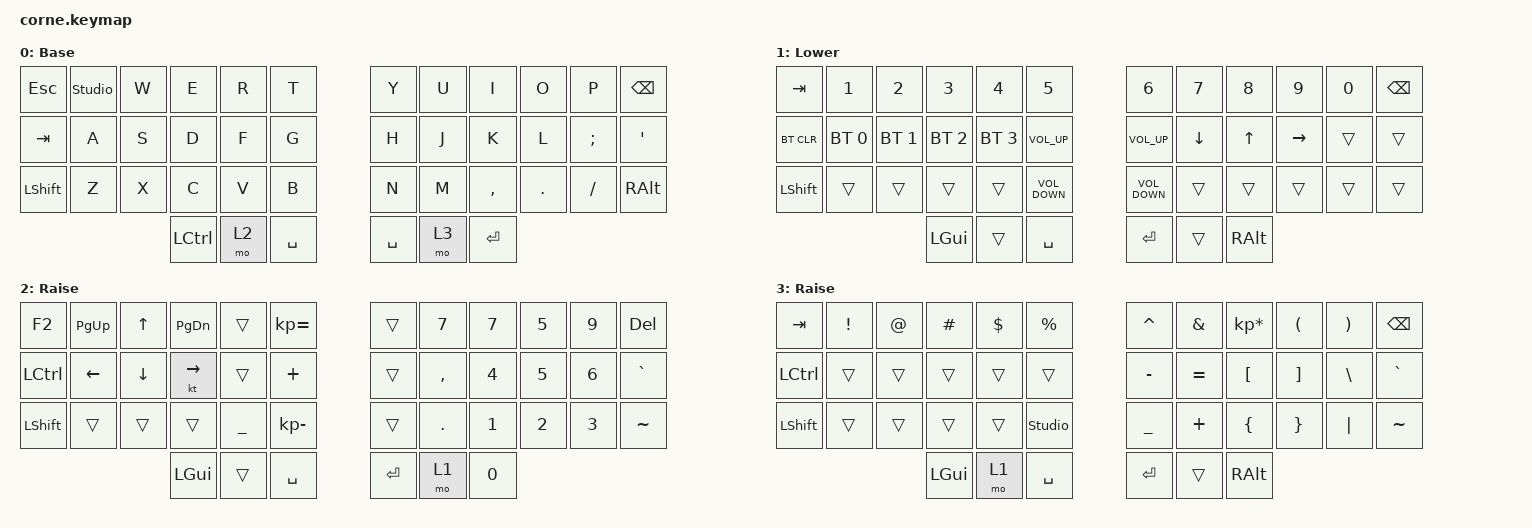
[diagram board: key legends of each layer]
/*
 * Copyright (c) 2020 The ZMK Contributors
 *
 * SPDX-License-Identifier: MIT
 */

#include <behaviors.dtsi>
#include <dt-bindings/zmk/bt.h>
#include <dt-bindings/zmk/keys.h>

/ {
    keymap {
        compatible = "zmk,keymap";

        default_layer {
            // -----------------------------------------------------------------------------------------
            // |  TAB |  Q  |  W  |  E  |  R  |  T  |   |  Y  |  U   |  I  |  O  |  P  | BKSP |
            // | CTRL |  A  |  S  |  D  |  F  |  G  |   |  H  |  J   |  K  |  L  |  ;  |  '   |
            // | SHFT |  Z  |  X  |  C  |  V  |  B  |   |  N  |  M   |  ,  |  .  |  /  | ESC  |
            //                    | GUI | LWR | SPC |   | ENT | RSE  | ALT |

            display-name = "Base";
            bindings = <
&kp ESC    &studio_unlock  &kp W  &kp E             &kp R  &kp T        &kp Y      &kp U  &kp I      &kp O    &kp P     &kp BSPC
&kp TAB    &kp A           &kp S  &kp D             &kp F  &kp G        &kp H      &kp J  &kp K      &kp L    &kp SEMI  &kp SQT
&kp LSHFT  &kp Z           &kp X  &kp C             &kp V  &kp B        &kp N      &kp M  &kp COMMA  &kp DOT  &kp FSLH  &kp RIGHT_ALT
                                  &kp LEFT_CONTROL  &mo 2  &kp SPACE    &kp SPACE  &mo 3  &kp ENTER
            >;
        };

        lower_layer {
            // -----------------------------------------------------------------------------------------
            // |  TAB |  1  |  2  |  3  |  4  |  5  |   |  6  |  7  |  8  |  9  |  0  | BKSP |
            // | BTCLR| BT1 | BT2 | BT3 | BT4 | BT5 |   | LFT | DWN |  UP | RGT |     |      |
            // | SHFT |     |     |     |     |     |   |     |     |     |     |     |      |
            //                    | GUI |     | SPC |   | ENT |     | ALT |

            display-name = "Lower";
            bindings = <
&kp TAB     &kp N1        &kp N2        &kp N3        &kp N4        &kp N5               &kp N6             &kp N7    &kp N8    &kp N9     &kp N0  &kp BSPC
&bt BT_CLR  &bt BT_SEL 0  &bt BT_SEL 1  &bt BT_SEL 2  &bt BT_SEL 3  &kp C_VOLUME_UP      &kp C_VOLUME_UP    &kp DOWN  &kp UP    &kp RIGHT  &trans  &trans
&kp LSHFT   &trans        &trans        &trans        &trans        &kp C_VOLUME_DOWN    &kp C_VOLUME_DOWN  &trans    &trans    &trans     &trans  &trans
                                        &kp LGUI      &trans        &kp SPACE            &kp RET            &trans    &kp RALT
            >;
        };

        raise_layer {
            // -----------------------------------------------------------------------------------------
            // |  TAB |  !  |  @  |  #  |  $  |  %  |   |  ^  |  &  |  *  |  (  |  )  | BKSP |
            // | CTRL |     |     |     |     |     |   |  -  |  =  |  [  |  ]  |  \  |  `   |
            // | SHFT |     |     |     |     |     |   |  _  |  +  |  {  |  }  | "|" |  ~   |
            //                    | GUI |     | SPC |   | ENT |     | ALT |

            display-name = "Raise";
            bindings = <
&kp F2     &kp PAGE_UP  &kp UP_ARROW  &kp PAGE_DOWN  &trans     &kp KP_EQUAL    &trans   &kp NUMBER_7  &kp NUMBER_7  &kp NUMBER_5  &kp NUMBER_9  &kp DELETE
&kp LCTRL  &kp LEFT     &kp DOWN      &kt RIGHT      &trans     &kp PLUS        &trans   &kp COMMA     &kp NUMBER_4  &kp NUMBER_5  &kp NUMBER_6  &kp GRAVE
&kp LSHFT  &trans       &trans        &trans         &kp UNDER  &kp KP_MINUS    &trans   &kp PERIOD    &kp NUMBER_1  &kp NUMBER_2  &kp NUMBER_3  &kp TILDE
                                      &kp LGUI       &trans     &kp SPACE       &kp RET  &mo 1         &kp NUMBER_0
            >;
        };

        layer_3 {
            display-name = "Raise";
            bindings = <
&kp TAB    &kp EXCL  &kp AT  &kp HASH  &kp DLLR  &kp PRCNT         &kp CARET  &kp AMPS   &kp KP_MULTIPLY  &kp LPAR  &kp RPAR  &kp BSPC
&kp LCTRL  &trans    &trans  &trans    &trans    &trans            &kp MINUS  &kp EQUAL  &kp LBKT         &kp RBKT  &kp BSLH  &kp GRAVE
&kp LSHFT  &trans    &trans  &trans    &trans    &studio_unlock    &kp UNDER  &kp PLUS   &kp LBRC         &kp RBRC  &kp PIPE  &kp TILDE
                             &kp LGUI  &mo 1     &kp SPACE         &kp RET    &trans     &kp RALT
            >;
        };

        extra_1 { status = "reserved"; };

        extra_2 { status = "reserved"; };

        extra_3 { status = "reserved"; };
    };
};
